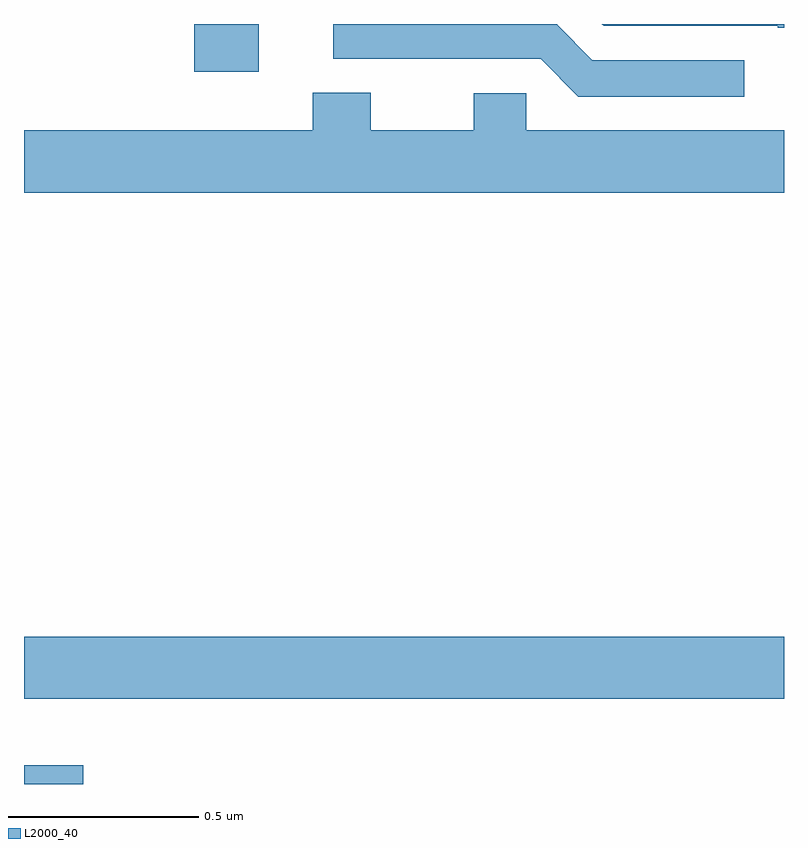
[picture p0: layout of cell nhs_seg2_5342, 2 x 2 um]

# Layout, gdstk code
import gdstk
lib = gdstk.Library(unit=1e-6, precision=1e-09)
def R(c, l, rs):  # rectangles x0, y0, x1, y1
    for r in rs: c.add(gdstk.rectangle(r[:2], r[2:], *l))
def P(c, l, *ps):  # polygons
    for p in ps: c.add(gdstk.Polygon(p, *l))
L2000_40 = (2000, 40)

nhs_seg2_5342 = lib.new_cell('nhs_seg2_5342')
R(nhs_seg2_5342, L2000_40, [(178,592.8,178.156,592.849), (178,593.024,180,593.188), (178.448,594.674,178.618,594.8)])
P(nhs_seg2_5342, L2000_40, [(179.896,594.705),(179.496,594.705),(179.403,594.798),(179.403,594.8),(178.814,594.8),(178.814,594.708),(179.36,594.708),(179.459,594.609),(179.896,594.609)],
  [(180,594.8),(179.521,594.8),(179.526,594.795),(179.983,594.795),(179.983,594.79),(180,594.79)],
  [(180,594.52),(179.322,594.52),(179.322,594.618),(179.183,594.618),(179.183,594.52),(178.912,594.52),(178.912,594.619),(178.76,594.619),(178.76,594.52),(178,594.52),(178,594.356),(180,594.356)])

lib.write_gds('nhs_seg2_5342.gds')
